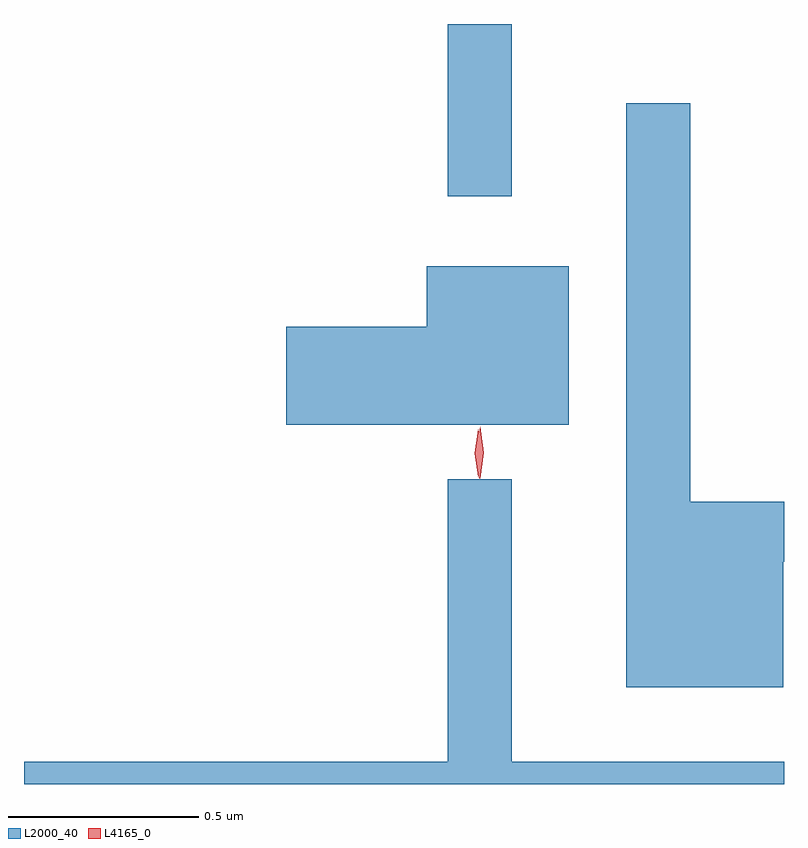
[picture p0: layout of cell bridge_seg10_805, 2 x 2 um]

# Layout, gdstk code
import gdstk
lib = gdstk.Library(unit=1e-6, precision=1e-09)
def R(c, l, rs):  # rectangles x0, y0, x1, y1
    for r in rs: c.add(gdstk.rectangle(r[:2], r[2:], *l))
def P(c, l, *ps):  # polygons
    for p in ps: c.add(gdstk.Polygon(p, *l))
L2000_40 = (2000, 40)
L4165_0 = (4165, 0)

bridge_seg10_805 = lib.new_cell('bridge_seg10_805')
R(bridge_seg10_805, L2000_40, [(547.981,2160.073,548.149,2160.526)])
P(bridge_seg10_805, L2000_40, [(548.864,2159.111),(548.866,2159.111),(548.866,2159.269),(548.619,2159.269),(548.619,2160.318),(548.451,2160.318),(548.451,2158.781),(548.864,2158.781)],
  [(548.299,2159.889),(547.926,2159.889),(547.926,2159.729),(547.556,2159.729),(547.556,2159.471),(548.299,2159.471)],
  [(548.866,2158.584),(548.149,2158.584),(548.149,2159.328),(547.981,2159.328),(547.981,2158.584),(546.866,2158.584),(546.866,2158.526),(548.866,2158.526)])
P(bridge_seg10_805, L4165_0, [(548.064,2159.33),(548.056,2159.398),(548.066,2159.466),(548.066,2159.466),(548.067,2159.466),(548.076,2159.398),(548.066,2159.33),(548.065,2159.33)],
  [(548.062,2159.333),(548.062,2159.334),(548.052,2159.396),(548.062,2159.459),(548.062,2159.46),(548.062,2159.459),(548.072,2159.396),(548.062,2159.334)])

lib.write_gds('bridge_seg10_805.gds')
